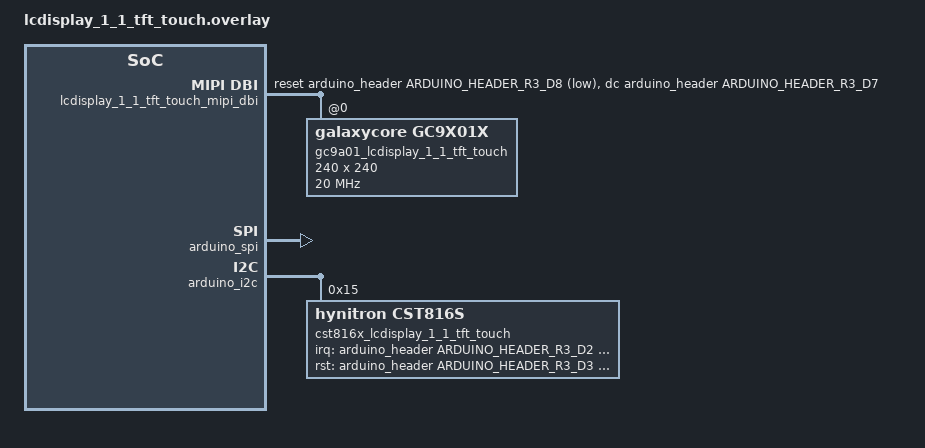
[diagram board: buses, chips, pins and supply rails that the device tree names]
/*
 * Copyright (c) 2025 maminjie <canpool@163.com>
 *
 * SPDX-License-Identifier: Apache-2.0
 */

#include <zephyr/dt-bindings/display/panel.h>
#include <zephyr/dt-bindings/gpio/arduino-header-r3.h>

/ {
	chosen {
		zephyr,display = &gc9a01_lcdisplay_1_1_tft_touch;
		zephyr,touch = &cst816x_lcdisplay_1_1_tft_touch;
	};

	lvgl_pointer {
		compatible = "zephyr,lvgl-pointer-input";
		input = <&cst816x_lcdisplay_1_1_tft_touch>;
	};

	lcdisplay_1_1_tft_touch_mipi_dbi {
		compatible = "zephyr,mipi-dbi-spi";
		dc-gpios = <&arduino_header ARDUINO_HEADER_R3_D7 GPIO_ACTIVE_HIGH>;
		reset-gpios = <&arduino_header ARDUINO_HEADER_R3_D8 GPIO_ACTIVE_LOW>;
		spi-dev = <&arduino_spi>;
		write-only;
		#address-cells = <1>;
		#size-cells = <0>;

		gc9a01_lcdisplay_1_1_tft_touch: gc9a01@0 {
			status = "okay";
			compatible = "galaxycore,gc9x01x";
			reg = <0>;
			mipi-max-frequency = <DT_FREQ_M(20)>;
			pixel-format = <PANEL_PIXEL_FORMAT_RGB_565>;
			width = <240>;
			height = <240>;
			display-inversion;

			pwrctrl2 = [2F];
			pwrctrl3 = [2F];
			pwrctrl4 = [25];
			gamma1 = [49 0e 09 09 25 2e];
			gamma2 = [44 70 73 2F 30 6F];
			gamma3 = [49 0e 09 09 25 2e];
			gamma4 = [44 70 73 2F 30 6F];
			framerate = [24];
		};
	};
};

&arduino_spi {
	status = "okay";
};

&arduino_i2c {
	status = "okay";

	cst816x_lcdisplay_1_1_tft_touch: cst816x@15 {
		status = "okay";
		compatible = "hynitron,cst816s";
		reg = <0x15>;
		irq-gpios = <&arduino_header ARDUINO_HEADER_R3_D2 (GPIO_PULL_UP | GPIO_ACTIVE_LOW)>;
		rst-gpios = <&arduino_header ARDUINO_HEADER_R3_D3 GPIO_ACTIVE_LOW>;
	};
};
